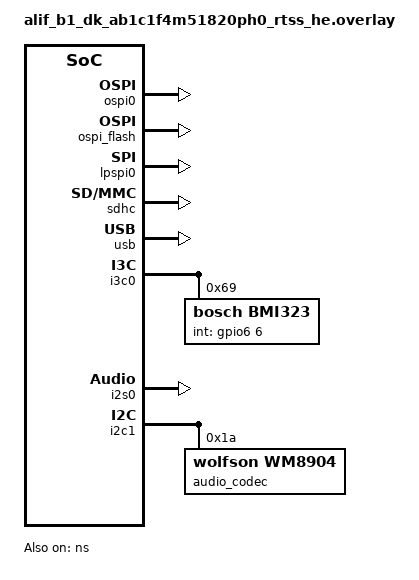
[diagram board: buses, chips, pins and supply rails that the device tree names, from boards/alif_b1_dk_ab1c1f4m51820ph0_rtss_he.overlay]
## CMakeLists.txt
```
# Copyright (C) Alif Semiconductor - All Rights Reserved.
# Use, distribution and modification of this code is permitted under the
# terms stated in the Alif Semiconductor Software License Agreement
#
# You should have received a copy of the Alif Semiconductor Software
# License Agreement with this file. If not, please write to:
# contact@alifsemi.com, or visit: https://alifsemi.com/license

cmake_minimum_required(VERSION 3.20.0)

find_package(Zephyr REQUIRED HINTS $ENV{ZEPHYR_BASE})
project(exerciser_app)

target_sources(app PRIVATE src/main.c)
target_sources_ifdef(CONFIG_SHELL app PRIVATE src/exerciser_shell.c)

# Worker sources are compiled only when the matching DT node is okay.

dt_alias(led0_path PROPERTY led0)
if(led0_path)
  dt_node_has_status(blinky_okay PATH "${led0_path}" STATUS okay)
  if(blinky_okay)
    target_sources(app PRIVATE src/blinky.c)
  endif()
endif()

dt_alias(ospi_path PROPERTY spi-flash0)
if(ospi_path)
  dt_node_has_status(ospi_okay PATH "${ospi_path}" STATUS okay)
  if(ospi_okay)
    target_sources(app PRIVATE src/ospi.c)
  endif()
endif()

dt_alias(spi_path PROPERTY master-spi)
if(spi_path)
  dt_node_has_status(spi_okay PATH "${spi_path}" STATUS okay)
  if(spi_okay)
    target_sources(app PRIVATE src/spi.c)
  endif()
endif()

# Nodelabel may be missing on this board; skip status check if unresolved.
dt_nodelabel(sdhc_path NODELABEL sdhc)
if(sdhc_path)
  dt_node_has_status(sd_okay PATH "${sdhc_path}" STATUS okay)
  if(sd_okay)
    target_sources(app PRIVATE src/sd.c)
  endif()
endif()

if(CONFIG_DT_HAS_ZEPHYR_CDC_ACM_UART_ENABLED)
  include(${ZEPHYR_BASE}/samples/subsys/usb/common/common.cmake)
  target_sources(app PRIVATE src/usb.c)
endif()

if(CONFIG_DT_HAS_BOSCH_BMI323_ENABLED)
  target_sources(app PRIVATE src/bmi323.c)
endif()

dt_nodelabel(codec_path NODELABEL audio_codec)
if(codec_path)
  dt_node_has_status(codec_okay PATH "${codec_path}" STATUS okay)
  if(codec_okay)
    target_sources(app PRIVATE src/i2s_codec.c)
  endif()
endif()

# Nodelabel may be missing on this board; skip status check if unresolved.
dt_nodelabel(video_path NODELABEL isp)
if(video_path)
  dt_node_has_status(video_okay PATH "${video_path}" STATUS okay)
  if(video_okay)
    target_sources(app PRIVATE src/video.c src/alif_logo.c)
  endif()
endif()

dt_nodelabel(eth_path NODELABEL ethernet)
if(eth_path)
  dt_node_has_status(eth_okay PATH "${eth_path}" STATUS okay)
  if(eth_okay)
    target_sources(app PRIVATE src/eth.c)
  endif()
endif()
```

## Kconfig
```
# Copyright (C) Alif Semiconductor - All Rights Reserved.
# Use, distribution and modification of this code is permitted under the
# terms stated in the Alif Semiconductor Software License Agreement
#
# You should have received a copy of the Alif Semiconductor Software
# License Agreement with this file. If not, please write to:
# contact@alifsemi.com, or visit: https://alifsemi.com/license
#

mainmenu "Exerciser App Sample"

config SAMPLE_FREQ
	int "Sample rate"
	default 48000
	help
	  Sample frequency used by the codec configuration.

source "samples/subsys/usb/common/Kconfig.sample_usbd"

source "Kconfig.zephyr"
```

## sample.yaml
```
sample:
  name: exerciser_app
  description: >
    Multi-peripheral exerciser. Board overlays (and E8 snippets) select
    which workers run: LED, OSPI, SPI loopback, SD, USB CDC-ACM, BMI323,
    WM8904, OV5675 viewfinder, Ethernet DHCPv4.

common:
  tags:
    - drivers
    - shell
  depends_on:
    - gpio
  harness: console
  harness_config:
    type: multi_line
    regex:
      - "Exerciser App"

tests:
  sample.applications.exerciser_app:
    platform_allow:
      - alif_b1_dk/ab1c1f4m51820ph0/rtss_he
      - alif_b1_sk/ab1c1f4m51820ph0/rtss_he
      - alif_e1c_dk/ae1c1f4051920hh/rtss_he
      - alif_e1c_sk/ae1c1f4051920hh/rtss_he
    integration_platforms:
      - alif_b1_dk/ab1c1f4m51820ph0/rtss_he
    tags:
      - spi
      - flash
      - usb
      - sensor
      - audio
      - sd
      - gpio

  sample.applications.exerciser_app.e8_ak:
    platform_allow:
      - alif_e8_ak/ae822fa0e5597xx0/rtss_he
    extra_args:
      - SNIPPET="ov5675-cam;alif-dhcpv4-client;ospi-flash"
    integration_platforms:
      - alif_e8_ak/ae822fa0e5597xx0/rtss_he
    tags:
      - video
      - net
      - sd
      - audio
      - ospi_flash
```

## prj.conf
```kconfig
CONFIG_SHELL=y
CONFIG_MAIN_STACK_SIZE=20480
CONFIG_STDOUT_CONSOLE=y
CONFIG_LOG=y
CONFIG_PRINTK=y
```

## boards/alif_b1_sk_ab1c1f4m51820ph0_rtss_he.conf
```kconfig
CONFIG_GPIO=y
CONFIG_SHELL=y
#ospi

#CONFIG_ARM_MPU=y
#CONFIG_CPU_HAS_CUSTOM_FIXED_SOC_MPU_REGIONS=y
#CONFIG_EVENTS=y

CONFIG_MAIN_STACK_SIZE=20480

#spi (LPSPI master internal loopback + DMA)
CONFIG_SPI=y
CONFIG_SPI_DW=y
CONFIG_SPI_LOG_LEVEL_INF=n
CONFIG_SPI_LOG_LEVEL_DBG=n
CONFIG_DMA=y
CONFIG_DMA_PL330=y
CONFIG_SPI_DW_USE_DMA=y
CONFIG_PRINTK=y
CONFIG_DMA_LOG_LEVEL_INF=n
CONFIG_PRINTK=y


#sd_org_prj
CONFIG_LOG=y

#usb-next
CONFIG_USB_DEVICE_STACK_NEXT=y
CONFIG_STDOUT_CONSOLE=y
CONFIG_SERIAL=y
CONFIG_UART_LINE_CTRL=y
CONFIG_USBD_CDC_ACM_CLASS=y
CONFIG_USBD_LOG_LEVEL_WRN=y
CONFIG_UDC_DRIVER_LOG_LEVEL_WRN=y
CONFIG_USBD_CDC_ACM_LOG_LEVEL_ERR=y
CONFIG_SAMPLE_USBD_PID=0x0001
CONFIG_SAMPLE_USBD_PRODUCT="USBD CDC ACM sample"
```

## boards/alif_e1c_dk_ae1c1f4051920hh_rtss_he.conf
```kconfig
CONFIG_GPIO=y
CONFIG_SHELL=y
#ospi

CONFIG_STDOUT_CONSOLE=y
CONFIG_FLASH=y
CONFIG_OSPI_FLASH_IS25WX=y
CONFIG_ARM_MPU=y
CONFIG_CPU_HAS_CUSTOM_FIXED_SOC_MPU_REGIONS=y
CONFIG_EVENTS=y

CONFIG_MAIN_STACK_SIZE=20480
CONFIG_FLASH_LOG_LEVEL_DBG=n
CONFIG_USE_ALIF_HAL_OSPI=y

#spi (LPSPI master internal loopback + DMA)
CONFIG_SPI=y
CONFIG_SPI_DW=y
CONFIG_SPI_LOG_LEVEL_INF=n
CONFIG_SPI_LOG_LEVEL_DBG=n
CONFIG_DMA=y
CONFIG_DMA_PL330=y
CONFIG_SPI_DW_USE_DMA=y
CONFIG_PRINTK=y
CONFIG_DMA_LOG_LEVEL_INF=n

#sd

#FATFS
CONFIG_FS_FATFS_WINDOW_ALIGNMENT=512
CONFIG_FS_FATFS_LFN=y
CONFIG_FS_LOG_LEVEL_ERR=y
CONFIG_FS_LOG_LEVEL_INF=y

#SDHC LOG
CONFIG_SDHC_LOG_LEVEL_INF=y
CONFIG_SDHC_LOG_LEVEL_ERR=y

#SDHC DMA
CONFIG_SDHC_RSP_136_HAS_CRC=y
CONFIG_SDHC_DWC=y
CONFIG_SDHC_DWC_ADMA=y

# B1/E1C dev kit specific configs
CONFIG_SDHC_INIT_PRIORITY=80
# Regulator (for SD power)
CONFIG_REGULATOR=y


#sd_org_prj
CONFIG_DISK_ACCESS=y
CONFIG_LOG=y
CONFIG_FILE_SYSTEM=y
CONFIG_FAT_FILESYSTEM_ELM=y

#usb-next
CONFIG_USB_DEVICE_STACK_NEXT=y
CONFIG_STDOUT_CONSOLE=y
CONFIG_SERIAL=y
CONFIG_UART_LINE_CTRL=y
CONFIG_USBD_CDC_ACM_CLASS=y
CONFIG_USBD_LOG_LEVEL_WRN=y
CONFIG_UDC_DRIVER_LOG_LEVEL_WRN=y
CONFIG_USBD_CDC_ACM_LOG_LEVEL_ERR=y
CONFIG_SAMPLE_USBD_PID=0x0001
CONFIG_SAMPLE_USBD_PRODUCT="USBD CDC ACM sample"

#codec_passthrough

CONFIG_AUDIO=y
CONFIG_AUDIO_CODEC=y
CONFIG_I2S=y
CONFIG_I2C=y
CONFIG_HEAP_MEM_POOL_SIZE=81920
CONFIG_SAMPLE_FREQ=48000
CONFIG_AUDIO_CODEC_WM8904=y


#bmi323
CONFIG_I3C=y
CONFIG_I3C_INIT_RSTACT=y
CONFIG_I3C_USE_IBI=n
CONFIG_SENSOR=y
CONFIG_CLOCK_CONTROL=y
CONFIG_FPU=y
```

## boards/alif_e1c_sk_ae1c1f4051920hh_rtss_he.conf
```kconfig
CONFIG_GPIO=y
CONFIG_SHELL=y
#ospi

#CONFIG_ARM_MPU=y
#CONFIG_CPU_HAS_CUSTOM_FIXED_SOC_MPU_REGIONS=y
#CONFIG_EVENTS=y

CONFIG_MAIN_STACK_SIZE=20480

#spi (LPSPI master internal loopback + DMA)
CONFIG_SPI=y
CONFIG_SPI_DW=y
CONFIG_SPI_LOG_LEVEL_INF=n
CONFIG_SPI_LOG_LEVEL_DBG=n
CONFIG_DMA=y
CONFIG_DMA_PL330=y
CONFIG_SPI_DW_USE_DMA=y
CONFIG_PRINTK=y
CONFIG_DMA_LOG_LEVEL_INF=n
CONFIG_PRINTK=y


#sd_org_prj
CONFIG_LOG=y

#usb-next
CONFIG_USB_DEVICE_STACK_NEXT=y
CONFIG_STDOUT_CONSOLE=y
CONFIG_SERIAL=y
CONFIG_UART_LINE_CTRL=y
CONFIG_USBD_CDC_ACM_CLASS=y
CONFIG_USBD_LOG_LEVEL_WRN=y
CONFIG_UDC_DRIVER_LOG_LEVEL_WRN=y
CONFIG_USBD_CDC_ACM_LOG_LEVEL_ERR=y
CONFIG_SAMPLE_USBD_PID=0x0001
CONFIG_SAMPLE_USBD_PRODUCT="USBD CDC ACM sample"
```

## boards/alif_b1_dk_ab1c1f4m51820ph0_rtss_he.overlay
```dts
/* Copyright (C) Alif Semiconductor - All Rights Reserved.
 * Use, distribution and modification of this code are permitted under the
 * terms stated in the Alif Semiconductor Software License Agreement.
 *
 * You should have received a copy of the Alif Semiconductor Software
 * License Agreement with this file. If not, please write to:
 * contact@alifsemi.com, or visit: https://alifsemi.com/license
 */

#include <dt-bindings/misc/alif_aipm_common.h>

/{
	aliases {
		spi-flash0 = &ospi_flash;
		audio-codec = &audio_codec;
		i2s-bus = &i2s0;
		i2s-codec-tx = &i2s0;
		master-spi = &lpspi0;
	};
};

&pinctrl {
	pinctrl_flash:pinctrl_flash {
		group0 {
			pinmux = <PIN_P4_2__OSPI0_SCLK_A>,
				 <PIN_P2_1__OSPI0_SS1_B>;
			read-enable = <0x0>;
			drive-strength = <12>;
			slew-rate = <0x1>;
		};
		group1 {
			pinmux = <PIN_P4_1__OSPI0_RXDS_A>,
				 <PIN_P3_0__OSPI0_D0_A>,
				 <PIN_P3_1__OSPI0_D1_A>,
				 <PIN_P3_2__OSPI0_D2_A>,
				 <PIN_P3_3__OSPI0_D3_A>,
				 <PIN_P3_4__OSPI0_D4_A>,
				 <PIN_P3_5__OSPI0_D5_A>,
				 <PIN_P3_6__OSPI0_D6_A>,
				 <PIN_P3_7__OSPI0_D7_A>;
			read-enable = <0x1>;
			drive-strength = <12>;
			slew-rate = <0x1>;
		};
	};

	pinctrl_ahi_trace: pinctrl_ahi_trace {
		group0 {
			pinmux = <PIN_P8_7__EXT_TX_B>,
				 <PIN_P8_3__EXT_RTS_B>,
				 <PIN_P8_5__EXT_TRACE_B>;
			read-enable = < 0x0 >;
		};
	};
};

&ospi0 {
	pinctrl-0 = <&pinctrl_flash>;
	status = "okay";
};

&ospi_flash {
	status = "okay";
};

#define SPI_MASTER_SS_SW_CONTROLLED_GPIO   0

&dma2 {
	status = "okay";
};

&lpspi0 {
	status = "okay";

	dmas = <&dma2 0 13>, <&dma2 1 12>;
	dma-names = "txdma", "rxdma";

#if SPI_MASTER_SS_SW_CONTROLLED_GPIO
	cs-gpios = <&gpio2 0 GPIO_ACTIVE_LOW>;
	interrupts = <46 0>;
#endif
};

#if SPI_MASTER_SS_SW_CONTROLLED_GPIO
&pinctrl_lpspi0 {
	group0 {
		pinmux = < PIN_P1_3__LPSPI_MISO_A >,
			 < PIN_P1_4__LPSPI_MOSI_A >,
			 < PIN_P1_5__LPSPI_SCLK_A >,
			 < PIN_P2_0__GPIO >;
		read-enable = < 0x1 >;
	};
};

&gpio2 {
	status = "okay";
};
#endif
ns: &ns {
	reg = <0x20060000 DT_SIZE_K(512)>;
	status = "okay";
};

/* GPIO0 is needed for SDHC sd-vsel regulator */
&gpio0 {
	status = "okay";
};

/* GPIO7 is needed for SDHC sd-pwr regulator */
&gpio7 {
	status = "okay";
};

sdhc: &sdhc {
	status = "okay";
	mmc {
		status = "okay";
		disk-name = "SD";
	};
};

&aipm_run_default {
	phy-pwr-gating = <ALIF_PHY_GATE_USB_MASK>;
};

zephyr_udc0: &usb {
	status = "okay";
};

&zephyr_udc0 {
	cdc_acm_uart0 {
		compatible = "zephyr,cdc-acm-uart";
		label = "Zephyr USB CDC-ACM";
	};
};

&i3c0 {
	status = "okay";

	bmi323: bmi323@69000003b810431000 {
		compatible = "bosch,bmi323";
		reg = <0x69 0x03b8 0x10431000>;
		/* Dynamic Address To Be Assigned To The Device */
		assigned-address = <0xA>;
		int-gpios	 = <&gpio6 6 GPIO_ACTIVE_HIGH>;
		status		 = "okay";
	};
};

&pinctrl_gpio6 {
	group0 {
		/* Enable only Port-6 Pin-6 */
		pinmux = <PIN_P6_6__GPIO>;
	};
};

&gpio6 {
	pinctrl-0		= <&pinctrl_gpio6>;
	pinctrl-names	= "default";
	status			= "okay";
};

&i2s0 {
	status = "okay";
};

&pinctrl_i2s0 {
	group0 {
		pinmux = <PIN_P2_4__I2S0_SDI_B>,
				<PIN_P2_5__I2S0_SDO_B>,
				<PIN_P1_6__I2S0_SCLK_A>,
				<PIN_P1_7__I2S0_WS_A>;
	};
};

&i2c1 {
	status = "okay";

	audio_codec: wm8904@1a {
		compatible = "wolfson,wm8904";
		reg = <0x1a>;
		clock-source = "MCLK";
		status = "okay";
	};
};
```

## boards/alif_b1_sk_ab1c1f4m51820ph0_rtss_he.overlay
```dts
/* Copyright (C) Alif Semiconductor - All Rights Reserved.
 * Use, distribution and modification of this code are permitted under the
 * terms stated in the Alif Semiconductor Software License Agreement.
 *
 * You should have received a copy of the Alif Semiconductor Software
 * License Agreement with this file. If not, please write to:
 * contact@alifsemi.com, or visit: https://alifsemi.com/license
 */

#include <dt-bindings/misc/alif_aipm_common.h>

#define SPI_MASTER_SS_SW_CONTROLLED_GPIO	0

/ {

	aliases {
		master-spi = &lpspi0;
	};
};

&dma2 {
	status = "okay";
};

&lpspi0 {
	status = "okay";

	dmas = <&dma2 0 13>, <&dma2 1 12>;
	dma-names = "txdma", "rxdma";

#if SPI_MASTER_SS_SW_CONTROLLED_GPIO
	cs-gpios = <&gpio2 0 GPIO_ACTIVE_LOW>;
	interrupts = <46 0>;
#endif
};

#if SPI_MASTER_SS_SW_CONTROLLED_GPIO
&pinctrl_lpspi0 {
	group0 {
		pinmux = < PIN_P1_3__LPSPI_MISO_A >,
			 < PIN_P1_4__LPSPI_MOSI_A >,
			 < PIN_P1_5__LPSPI_SCLK_A >,
			 < PIN_P2_0__GPIO >;
		read-enable = < 0x1 >;
	};
};

&gpio2 {
	status = "okay";
};
#endif
ns: &ns {
	reg = <0x20060000 DT_SIZE_K(512)>;
	status = "okay";
};

&aipm_run_default {
	phy-pwr-gating = <ALIF_PHY_GATE_USB_MASK>;
};
zephyr_udc0: &usb {
	status = "okay";
};

&zephyr_udc0 {
	cdc_acm_uart0 {
		compatible = "zephyr,cdc-acm-uart";
		label = "Zephyr USB CDC-ACM";
	};
};
```

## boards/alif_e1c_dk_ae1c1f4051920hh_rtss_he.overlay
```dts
/* Copyright (C) Alif Semiconductor - All Rights Reserved.
 * Use, distribution and modification of this code are permitted under the
 * terms stated in the Alif Semiconductor Software License Agreement.
 *
 * You should have received a copy of the Alif Semiconductor Software
 * License Agreement with this file. If not, please write to:
 * contact@alifsemi.com, or visit: https://alifsemi.com/license
 */

#include <dt-bindings/misc/alif_aipm_common.h>

/{
	aliases {
		spi-flash0 = &ospi_flash;
		audio-codec = &audio_codec;
		i2s-bus = &i2s0;
		i2s-codec-tx = &i2s0;
		master-spi = &lpspi0;
	};
};

&pinctrl {
	pinctrl_flash:pinctrl_flash {
		group0 {
			pinmux = <PIN_P4_2__OSPI0_SCLK_A>,
				 <PIN_P2_1__OSPI0_SS1_B>;
			read-enable = <0x0>;
			drive-strength = <12>;
			slew-rate = <0x1>;
		};
		group1 {
			pinmux = <PIN_P4_1__OSPI0_RXDS_A>,
				 <PIN_P3_0__OSPI0_D0_A>,
				 <PIN_P3_1__OSPI0_D1_A>,
				 <PIN_P3_2__OSPI0_D2_A>,
				 <PIN_P3_3__OSPI0_D3_A>,
				 <PIN_P3_4__OSPI0_D4_A>,
				 <PIN_P3_5__OSPI0_D5_A>,
				 <PIN_P3_6__OSPI0_D6_A>,
				 <PIN_P3_7__OSPI0_D7_A>;
			read-enable = <0x1>;
			drive-strength = <12>;
			slew-rate = <0x1>;
		};
	};

	pinctrl_ahi_trace: pinctrl_ahi_trace {
		group0 {
			pinmux = <PIN_P8_7__EXT_TX_B>,
				 <PIN_P8_3__EXT_RTS_B>,
				 <PIN_P8_5__EXT_TRACE_B>;
			read-enable = < 0x0 >;
		};
	};
};

&ospi0 {
	pinctrl-0 = <&pinctrl_flash>;
	status = "okay";
};

&ospi_flash {
	status = "okay";
};

#define SPI_MASTER_SS_SW_CONTROLLED_GPIO   0

&dma2 {
	status = "okay";
};

&lpspi0 {
	status = "okay";

	dmas = <&dma2 0 13>, <&dma2 1 12>;
	dma-names = "txdma", "rxdma";

#if SPI_MASTER_SS_SW_CONTROLLED_GPIO
	cs-gpios = <&gpio2 0 GPIO_ACTIVE_LOW>;
	interrupts = <46 0>;
#endif
};

#if SPI_MASTER_SS_SW_CONTROLLED_GPIO
&pinctrl_lpspi0 {
	group0 {
		pinmux = < PIN_P1_3__LPSPI_MISO_A >,
			 < PIN_P1_4__LPSPI_MOSI_A >,
			 < PIN_P1_5__LPSPI_SCLK_A >,
			 < PIN_P2_0__GPIO >;
		read-enable = < 0x1 >;
	};
};

&gpio2 {
	status = "okay";
};
#endif

ns: &ns {
	reg = <0x20060000 DT_SIZE_K(512)>;
	status = "okay";
};

/* GPIO0 is needed for SDHC sd-vsel regulator */
&gpio0 {
	status = "okay";
};

/* GPIO7 is needed for SDHC sd-pwr regulator */
&gpio7 {
	status = "okay";
};

sdhc: &sdhc {
	status = "okay";
	mmc {
		status = "okay";
		disk-name = "SD";
	};
};

&aipm_run_default {
	phy-pwr-gating = <ALIF_PHY_GATE_USB_MASK>;
};
zephyr_udc0: &usb {
	status = "okay";
};

&zephyr_udc0 {
	cdc_acm_uart0 {
		compatible = "zephyr,cdc-acm-uart";
		label = "Zephyr USB CDC-ACM";
	};
};

&i3c0 {
	status = "okay";

	bmi323: bmi323@69000003b810431000 {
		compatible = "bosch,bmi323";
		reg = <0x69 0x03b8 0x10431000>;
		/* Dynamic Address To Be Assigned To The Device */
		assigned-address = <0xA>;
		int-gpios	 = <&gpio6 6 GPIO_ACTIVE_HIGH>;
		status		 = "okay";
	};
};

&pinctrl_gpio6 {
	group0 {
		/* Enable only Port-6 Pin-6 */
		pinmux = <PIN_P6_6__GPIO>;
	};
};

&gpio6 {
	pinctrl-0		= <&pinctrl_gpio6>;
	pinctrl-names	= "default";
	status			= "okay";
};

&i2s0 {
	status = "okay";
};

&pinctrl_i2s0 {
	group0 {
		pinmux = <PIN_P2_4__I2S0_SDI_B>,
				<PIN_P2_5__I2S0_SDO_B>,
				<PIN_P1_6__I2S0_SCLK_A>,
				<PIN_P1_7__I2S0_WS_A>;
	};
};

&i2c1 {
	status = "okay";

	audio_codec: wm8904@1a {
		compatible = "wolfson,wm8904";
		reg = <0x1a>;
		clock-source = "MCLK";
		status = "okay";
	};
};
```

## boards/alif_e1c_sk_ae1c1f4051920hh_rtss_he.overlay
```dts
/* Copyright (C) Alif Semiconductor - All Rights Reserved.
 * Use, distribution and modification of this code are permitted under the
 * terms stated in the Alif Semiconductor Software License Agreement.
 *
 * You should have received a copy of the Alif Semiconductor Software
 * License Agreement with this file. If not, please write to:
 * contact@alifsemi.com, or visit: https://alifsemi.com/license
 */

#include <dt-bindings/misc/alif_aipm_common.h>

#define SPI_MASTER_SS_SW_CONTROLLED_GPIO   0

/ {

	aliases {
		master-spi = &lpspi0;
	};
};

&dma2 {
	status = "okay";
};

&lpspi0 {
	status = "okay";

	dmas = <&dma2 0 13>, <&dma2 1 12>;
	dma-names = "txdma", "rxdma";

#if SPI_MASTER_SS_SW_CONTROLLED_GPIO
	cs-gpios = <&gpio2 0 GPIO_ACTIVE_LOW>;
	interrupts = <46 0>;
#endif
};

#if SPI_MASTER_SS_SW_CONTROLLED_GPIO
&pinctrl_lpspi0 {
	group0 {
		pinmux = < PIN_P1_3__LPSPI_MISO_A >,
			 < PIN_P1_4__LPSPI_MOSI_A >,
			 < PIN_P1_5__LPSPI_SCLK_A >,
			 < PIN_P2_0__GPIO >;
		read-enable = < 0x1 >;
	};
};

&gpio2 {
	status = "okay";
};
#endif
ns: &ns {
	reg = <0x20060000 DT_SIZE_K(512)>;
	status = "okay";
};

&aipm_run_default {
	phy-pwr-gating = <ALIF_PHY_GATE_USB_MASK>;
};
zephyr_udc0: &usb {
	status = "okay";
};

&zephyr_udc0 {
	cdc_acm_uart0 {
	compatible = "zephyr,cdc-acm-uart";
	label = "Zephyr USB CDC-ACM";
	};
};
```

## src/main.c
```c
/* Copyright (C) Alif Semiconductor - All Rights Reserved.
 * Use, distribution and modification of this code are permitted under the
 * terms stated in the Alif Semiconductor Software License Agreement.
 *
 * You should have received a copy of the Alif Semiconductor Software
 * License Agreement with this file. If not, please write to:
 * contact@alifsemi.com, or visit: https://alifsemi.com/license
 */

#include <zephyr/kernel.h>
#include <zephyr/logging/log.h>
#include "exerciser_app.h"

LOG_MODULE_REGISTER(exerciser_main, LOG_LEVEL_INF);

/* Thread stack size and priority */
#define STACK_SIZE 1024

#if BLINKY_NODE_OKAY
#define BLINKY_PRIORITY 4
K_THREAD_STACK_DEFINE(blinky_stack, 512);
struct k_thread blinky_thread_data;
#endif

#if OSPI_NODE_OKAY
#define OSPI_PRIORITY 4
K_THREAD_STACK_DEFINE(ospi_stack, STACK_SIZE * 2);
struct k_thread ospi_thread_data;
#endif

#if SPI_NODE_OKAY
#define SPI_PRIORITY 4
K_THREAD_STACK_DEFINE(spi_stack, STACK_SIZE * 1);
struct k_thread spi_thread_data;
#endif

#if SD_NODE_OKAY
#define SD_PRIORITY 7
K_THREAD_STACK_DEFINE(sd_stack, STACK_SIZE * 4);
struct k_thread sd_thread_data;
#endif

#if USB_NODE_OKAY
#define USB_PRIORITY 2
K_THREAD_STACK_DEFINE(usb_stack, STACK_SIZE * 4);
struct k_thread usb_thread_data;
#endif

#if CODEC_NODE_OKAY
#define CODEC_PRIORITY 4
K_THREAD_STACK_DEFINE(codec_stack, STACK_SIZE * 8);
struct k_thread codec_thread_data;
#endif

#if BMI323_NODE_OKAY
#define BMI323_PRIORITY 4
K_THREAD_STACK_DEFINE(bmi323_stack, STACK_SIZE * 2);
struct k_thread bmi323_thread_data;
#endif

#if VIDEO_NODE_OKAY
#define VIDEO_PRIORITY 5
K_THREAD_STACK_DEFINE(video_stack, STACK_SIZE * 16);
struct k_thread video_thread_data;
#endif

#if ETH_NODE_OKAY
#define ETH_PRIORITY 4
K_THREAD_STACK_DEFINE(eth_stack, STACK_SIZE * 4);
struct k_thread eth_thread_data;
#endif

/* Function to start all exerciser threads */
void start_all_exerciser_threads(void)
{
	static atomic_t exerciser_started;

	if (!atomic_cas(&exerciser_started, 0, 1)) {
		LOG_WRN("Exerciser threads already started");
		return;
	}
#if BLINKY_NODE_OKAY
	k_tid_t tidb = k_thread_create(&blinky_thread_data, blinky_stack,
			K_THREAD_STACK_SIZEOF(blinky_stack),
			(k_thread_entry_t)blinky_thread,
			NULL, NULL, NULL, BLINKY_PRIORITY, 0, K_NO_WAIT);
	if (tidb == NULL) {
		LOG_ERR("Error creating Blinky Thread");
	} else {
		LOG_INF("Blinky thread started");
	}
#endif

#if OSPI_NODE_OKAY
	k_tid_t tido = k_thread_create(&ospi_thread_data, ospi_stack,
			K_THREAD_STACK_SIZEOF(ospi_stack),
			(k_thread_entry_t)ospi_thread,
			NULL, NULL, NULL, OSPI_PRIORITY, 0, K_NO_WAIT);
	if (tido == NULL) {
		LOG_ERR("Error creating Ospi Thread");
	} else {
		LOG_INF("OSPI thread started");
	}
#endif

#if SPI_NODE_OKAY
	k_tid_t tids = k_thread_create(&spi_thread_data, spi_stack, STACK_SIZE * 1,
			(k_thread_entry_t)spi_thread,
			NULL, NULL, NULL, SPI_PRIORITY, 0, K_NO_WAIT);
	if (tids == NULL) {
		LOG_ERR("Error creating SPI Master Thread");
	} else {
		LOG_INF("SPI thread started");
	}
#endif

#if USB_NODE_OKAY
	k_tid_t tidu = k_thread_create(&usb_thread_data, usb_stack, STACK_SIZE * 4,
			(k_thread_entry_t)usb_thread,
			NULL, NULL, NULL, USB_PRIORITY, 0, K_NO_WAIT);
	if (tidu == NULL) {
		LOG_ERR("Error creating USB thread");
	} else {
		LOG_INF("USB thread started");
	}
#endif

#if BMI323_NODE_OKAY
	k_tid_t tidbmi = k_thread_create(&bmi323_thread_data, bmi323_stack, STACK_SIZE * 2,
			(k_thread_entry_t)bmi323_thread,
			NULL, NULL, NULL, BMI323_PRIORITY, 2, K_NO_WAIT);
	if (tidbmi == NULL) {
		LOG_ERR("Error creating BMI323 thread");
	} else {
		LOG_INF("BMI323 thread started");
	}
#endif

#if CODEC_NODE_OKAY
	k_tid_t tidcodec = k_thread_create(&codec_thread_data, codec_stack, STACK_SIZE * 8,
			(k_thread_entry_t)codec_thread,
			NULL, NULL, NULL, CODEC_PRIORITY, K_FP_REGS, K_NO_WAIT);
	if (tidcodec == NULL) {
		LOG_ERR("Error creating Codec thread");
	} else {
		LOG_INF("Codec thread started");
	}
#endif

#if VIDEO_NODE_OKAY
	k_tid_t tidv = k_thread_create(&video_thread_data, video_stack,
			K_THREAD_STACK_SIZEOF(video_stack),
			(k_thread_entry_t)video_thread,
			NULL, NULL, NULL, VIDEO_PRIORITY, 0, K_NO_WAIT);
	if (tidv == NULL) {
		LOG_ERR("Error creating Video thread");
	} else {
		LOG_INF("Video thread started");
	}
#endif

#if ETH_NODE_OKAY
	k_tid_t tide = k_thread_create(&eth_thread_data, eth_stack,
			K_THREAD_STACK_SIZEOF(eth_stack),
			(k_thread_entry_t)eth_thread,
			NULL, NULL, NULL, ETH_PRIORITY, 0, K_NO_WAIT);
	if (tide == NULL) {
		LOG_ERR("Error creating DHCP thread");
	} else {
		LOG_INF("DHCP thread started");
	}
#endif

#if SD_NODE_OKAY
	k_tid_t tidsd = k_thread_create(&sd_thread_data, sd_stack,
			K_THREAD_STACK_SIZEOF(sd_stack),
			(k_thread_entry_t)sd_thread,
			NULL, NULL, NULL, SD_PRIORITY, 0, K_NO_WAIT);
	if (tidsd == NULL) {
		LOG_ERR("Error creating SD Thread");
	} else {
		LOG_INF("SD thread started");
	}
#endif

	LOG_INF("All exerciser threads started successfully!");
}

int main(void)
{
#ifdef CONFIG_SHELL
	/* Shell control mode - wait for user command */
	LOG_INF("Exerciser App - Shell Control Mode");
	LOG_INF("Use 'start_exerciser' command to start all threads");
	LOG_INF("Shell ready. Type 'help' for available commands.");
#else
	/* Auto-start mode - start all threads immediately */
	LOG_INF("Exerciser App - Auto-start Mode");
	LOG_INF("Starting all exerciser threads...");
	start_all_exerciser_threads();
#endif

	return 0;
}
```

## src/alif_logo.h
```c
/* Copyright (C) Alif Semiconductor - All Rights Reserved.
 * Use, distribution and modification of this code are permitted under the
 * terms stated in the Alif Semiconductor Software License Agreement.
 *
 * You should have received a copy of the Alif Semiconductor Software
 * License Agreement with this file. If not, please write to:
 * contact@alifsemi.com, or visit: https://alifsemi.com/license
 */

#ifndef ALIF_LOGO_H
#define ALIF_LOGO_H
#include "aipl_image.h"

const aipl_image_t *get_alif_logo(void);

const uint8_t *get_alif_lut(void);

#endif
```

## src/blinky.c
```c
/*
 * Copyright (c) 2016 Intel Corporation
 * Copyright (c) 2026 Alif Semiconductor
 *
 * SPDX-License-Identifier: Apache-2.0
 */

#include <zephyr/kernel.h>
#include <zephyr/drivers/gpio.h>
#include <zephyr/logging/log.h>
#include "exerciser_app.h"

LOG_MODULE_REGISTER(exerciser_blinky, LOG_LEVEL_INF);

#if BLINKY_NODE_OKAY
/* 1000 msec = 1 sec */
#define SLEEP_TIME_MS   1000

/* The devicetree node identifier for the "led0" alias. */
#define LED0_NODE DT_ALIAS(led0)

/*
 * A build error on this line means your board is unsupported.
 */
static const struct gpio_dt_spec led = GPIO_DT_SPEC_GET(LED0_NODE, gpios);

/* This thread will run in a loop */
void blinky_thread(void)
{
	int ret = 0;

	if (!gpio_is_ready_dt(&led)) {
		LOG_ERR("LED GPIO not ready");
		return;
	}

	ret = gpio_pin_configure_dt(&led, GPIO_OUTPUT_ACTIVE);
	if (ret < 0) {
		LOG_ERR("LED GPIO configure failed");
		return;
	}

	while (1) {
		gpio_pin_toggle_dt(&led);
		k_msleep(SLEEP_TIME_MS);
	}
}

#endif /* BLINKY_NODE_OKAY */
```

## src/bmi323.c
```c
/*
 * Copyright (c) Alif Semiconductor.
 * SPDX-License-Identifier: Apache-2.0
 */

#include <zephyr/kernel.h>
#include <zephyr/device.h>
#include <zephyr/drivers/sensor.h>
#include <stdio.h>
#include <zephyr/logging/log.h>
#include "exerciser_app.h"

LOG_MODULE_REGISTER(exerciser_bmi323, LOG_LEVEL_INF);

#if BMI323_NODE_OKAY
void bmi323_thread(void)
{
	const struct device *const dev = DEVICE_DT_GET_ONE(bosch_bmi323);
	struct sensor_value acc[3], gyr[3];
	struct sensor_value full_scale, sampling_freq, feat_mask;
	int ret;

	if (!device_is_ready(dev)) {
		LOG_ERR("Device %s is not ready", dev->name);
		return;
	}

	LOG_INF("Device %p name is %s", dev, dev->name);

	/* Setting scale in G, due to loss of precision if the SI unit m/s^2
	 * is used
	 */
	full_scale.val1 = 2;            /* G */
	full_scale.val2 = 0;
	sampling_freq.val1 = 100;       /* Hz. Performance mode */
	sampling_freq.val2 = 0;
	feat_mask.val1 = 1;          /* High performance mode */
	feat_mask.val2 = 0;

	sensor_attr_set(dev, SENSOR_CHAN_ACCEL_XYZ, SENSOR_ATTR_FULL_SCALE,
			&full_scale);
	sensor_attr_set(dev, SENSOR_CHAN_ACCEL_XYZ, SENSOR_ATTR_FEATURE_MASK,
			&feat_mask);
	/* Set sampling frequency last as this also sets the appropriate
	 * power mode. If already sampling, change to 0.0Hz before changing
	 * other attributes
	 */
	sensor_attr_set(dev, SENSOR_CHAN_ACCEL_XYZ,
			SENSOR_ATTR_SAMPLING_FREQUENCY,
			&sampling_freq);

	/* Setting scale in degrees/s to match the sensor scale */
	full_scale.val1 = 500;          /* dps */
	full_scale.val2 = 0;
	sampling_freq.val1 = 100;       /* Hz. Performance mode */
	sampling_freq.val2 = 0;
	feat_mask.val1 = 1;          /* High performance mode */
	feat_mask.val2 = 0;

	sensor_attr_set(dev, SENSOR_CHAN_GYRO_XYZ, SENSOR_ATTR_FULL_SCALE,
			&full_scale);
	sensor_attr_set(dev, SENSOR_CHAN_GYRO_XYZ, SENSOR_ATTR_FEATURE_MASK,
			&feat_mask);
	/* Set sampling frequency last as this also sets the appropriate
	 * power mode. If already sampling, change sampling frequency to
	 * 0.0Hz before changing other attributes
	 */
	sensor_attr_set(dev, SENSOR_CHAN_GYRO_XYZ,
			SENSOR_ATTR_SAMPLING_FREQUENCY,
			&sampling_freq);

	while (1) {
		/* 100ms period, 100Hz Sampling frequency */
		k_sleep(K_MSEC(500));

		ret = sensor_sample_fetch(dev);
		if (ret < 0) {
			LOG_ERR("BMI323 sample fetch failed: %d", ret);
			continue;
		}

		ret = sensor_channel_get(dev, SENSOR_CHAN_ACCEL_XYZ, acc);
		if (ret < 0) {
			LOG_ERR("BMI323 accel read failed: %d", ret);
			continue;
		}

		ret = sensor_channel_get(dev, SENSOR_CHAN_GYRO_XYZ, gyr);
		if (ret < 0) {
			LOG_ERR("BMI323 gyro read failed: %d", ret);
			continue;
		}

		LOG_INF("Accel AX: %f; AY: %f; AZ: %f g Gyro GX: %f; GY: %f; GZ: %f deg/s",
			sensor_value_to_double(&acc[0]),
			sensor_value_to_double(&acc[1]),
			sensor_value_to_double(&acc[2]),
			sensor_value_to_double(&gyr[0]),
			sensor_value_to_double(&gyr[1]),
			sensor_value_to_double(&gyr[2]));
	}
}
#endif /* BMI323_NODE_OKAY */
```

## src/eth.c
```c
/* Networking DHCPv4 client */

/*
 * Copyright (c) 2017 ARM Ltd.
 * Copyright (c) 2016 Intel Corporation.
 * Copyright (c) 2026 Alif Semiconductor
 *
 * SPDX-License-Identifier: Apache-2.0
 */

#include <zephyr/logging/log.h>
LOG_MODULE_REGISTER(net_dhcpv4_client_sample, LOG_LEVEL_DBG);

#include <zephyr/kernel.h>
#include <zephyr/linker/sections.h>
#include <errno.h>
#include <stdio.h>

#include <zephyr/net/net_if.h>
#include <zephyr/net/net_core.h>
#include <zephyr/net/net_context.h>
#include <zephyr/net/net_mgmt.h>

#include "exerciser_app.h"

#define DHCP_OPTION_NTP (42)

#if ETH_NODE_OKAY

#if defined(CONFIG_NET_DHCPV4)

static uint8_t ntp_server[4];

static struct net_mgmt_event_callback mgmt_cb;

static struct net_dhcpv4_option_callback dhcp_cb;

static void handler(struct net_mgmt_event_callback *cb,
			uint32_t mgmt_event,
			struct net_if *iface)
{
	int i = 0;

	if (mgmt_event != NET_EVENT_IPV4_ADDR_ADD) {
		return;
	}

	for (i = 0; i < NET_IF_MAX_IPV4_ADDR; i++) {
		char buf[NET_IPV4_ADDR_LEN];

		if (iface->config.ip.ipv4->unicast[i].ipv4.addr_type !=
							NET_ADDR_DHCP) {
			continue;
		}

		LOG_INF("   Address[%d]: %s", net_if_get_by_iface(iface),
			net_addr_ntop(AF_INET,
				&iface->config.ip.ipv4->unicast[i].ipv4.address.in_addr,
						buf, sizeof(buf)));
		LOG_INF("    Subnet[%d]: %s", net_if_get_by_iface(iface),
			net_addr_ntop(AF_INET,
						&iface->config.ip.ipv4->unicast[i].netmask,
						buf, sizeof(buf)));
		LOG_INF("    Router[%d]: %s", net_if_get_by_iface(iface),
			net_addr_ntop(AF_INET,
						 &iface->config.ip.ipv4->gw,
						 buf, sizeof(buf)));
		LOG_INF("Lease time[%d]: %u seconds", net_if_get_by_iface(iface),
			iface->config.dhcpv4.lease_time);
	}
}

static void option_handler(struct net_dhcpv4_option_callback *cb,
				size_t length,
				enum net_dhcpv4_msg_type msg_type,
				struct net_if *iface)
{
	char buf[NET_IPV4_ADDR_LEN];

	LOG_INF("DHCP Option %d: %s", cb->option,
		net_addr_ntop(AF_INET, cb->data, buf, sizeof(buf)));
}

void eth_thread(void)
{
	struct net_if *iface = net_if_get_default();

	LOG_INF("Run dhcpv4 client");

	net_mgmt_init_event_callback(&mgmt_cb, handler,
					NET_EVENT_IPV4_ADDR_ADD);
	net_mgmt_add_event_callback(&mgmt_cb);

	net_dhcpv4_init_option_callback(&dhcp_cb, option_handler,
					DHCP_OPTION_NTP, ntp_server,
					sizeof(ntp_server));
	net_dhcpv4_add_option_callback(&dhcp_cb);

	while (!net_if_is_up(iface) || !net_if_is_carrier_ok(iface)) {
		LOG_INF("Waiting for Ethernet link (up=%d carrier=%d)",
			net_if_is_up(iface), net_if_is_carrier_ok(iface));
		k_sleep(K_SECONDS(1));
	}

	LOG_INF("Link up, starting DHCP");
	net_dhcpv4_stop(iface);
	net_dhcpv4_start(iface);

	while (1) {
		k_sleep(K_SECONDS(10));
	}
}
#else
static void print_ipv4(struct net_if *iface)
{
	for (int i = 0; i < NET_IF_MAX_IPV4_ADDR; i++) {

		char buf[NET_IPV4_ADDR_LEN];

		if (!iface->config.ip.ipv4->unicast[i].ipv4.is_used) {
			continue;
		}
		LOG_INF("Address[%d]: %s", net_if_get_by_iface(iface),
			net_addr_ntop(AF_INET,
				&iface->config.ip.ipv4->unicast[i].ipv4.address.in_addr,
				buf, sizeof(buf)));
		LOG_INF(" Subnet[%d]: %s", net_if_get_by_iface(iface),
			net_addr_ntop(AF_INET,
				&iface->config.ip.ipv4->unicast[i].netmask,
				buf, sizeof(buf)));
		LOG_INF(" Router[%d]: %s", net_if_get_by_iface(iface),
			net_addr_ntop(AF_INET, &iface->config.ip.ipv4->gw,
				buf, sizeof(buf)));
	}
}
void eth_thread(void)
{
	struct net_if *iface = net_if_get_default();

	LOG_INF("Static IPv4");
	while (!net_if_is_up(iface) || !net_if_is_carrier_ok(iface)) {
		LOG_INF("Waiting for Ethernet link (up=%d carrier=%d)",
			net_if_is_up(iface), net_if_is_carrier_ok(iface));
		k_sleep(K_SECONDS(1));
	}
	print_ipv4(iface);
	while (1) {
		k_sleep(K_SECONDS(10));
	}
}
#endif /* CONFIG_NET_DHCPV4 */
#endif /* ETH_NODE_OKAY */
```

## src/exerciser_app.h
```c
/* Copyright (C) Alif Semiconductor - All Rights Reserved.
 * Use, distribution and modification of this code are permitted under the
 * terms stated in the Alif Semiconductor Software License Agreement.
 *
 * You should have received a copy of the Alif Semiconductor Software
 * License Agreement with this file. If not, please write to:
 * contact@alifsemi.com, or visit: https://alifsemi.com/license
 */

#ifndef EXERCISER_APP_H
#define EXERCISER_APP_H

#include <zephyr/devicetree.h>

#define BLINKY_NODE_OKAY  DT_NODE_HAS_STATUS_OKAY(DT_ALIAS(led0))
#define OSPI_NODE_OKAY    DT_NODE_HAS_STATUS_OKAY(DT_ALIAS(spi_flash0))
#define SPI_NODE_OKAY     DT_NODE_HAS_STATUS_OKAY(DT_ALIAS(master_spi))
#define SD_NODE_OKAY      DT_NODE_HAS_STATUS_OKAY(DT_NODELABEL(sdhc))
#define USB_NODE_OKAY     DT_HAS_COMPAT_STATUS_OKAY(zephyr_cdc_acm_uart)
#define BMI323_NODE_OKAY  DT_HAS_COMPAT_STATUS_OKAY(bosch_bmi323)
#define CODEC_NODE_OKAY   DT_NODE_HAS_STATUS_OKAY(DT_NODELABEL(audio_codec))
#define VIDEO_NODE_OKAY   DT_NODE_HAS_STATUS_OKAY(DT_NODELABEL(isp))
#define ETH_NODE_OKAY     DT_NODE_HAS_STATUS_OKAY(DT_NODELABEL(ethernet))

#if BLINKY_NODE_OKAY
void blinky_thread(void);
#endif
#if OSPI_NODE_OKAY
void ospi_thread(void);
#endif
#if SPI_NODE_OKAY
void spi_thread(void);
#endif
#if SD_NODE_OKAY
void sd_thread(void);
#endif
#if USB_NODE_OKAY
void usb_thread(void);
#endif
#if CODEC_NODE_OKAY
void codec_thread(void);
#endif
#if BMI323_NODE_OKAY
void bmi323_thread(void);
#endif
#if VIDEO_NODE_OKAY
void video_thread(void);
#endif
#if ETH_NODE_OKAY
void eth_thread(void);
#endif
void start_all_exerciser_threads(void);
#endif /* EXERCISER_APP_H */
```

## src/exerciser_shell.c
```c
/*
 * Copyright (c) Alif Semiconductor
 * SPDX-License-Identifier: Apache-2.0
 */

#include <zephyr/kernel.h>
#include <zephyr/shell/shell.h>
#include "exerciser_app.h"

/* Shell command to start all exerciser threads */
static int cmd_start_exerciser(const struct shell *sh, size_t argc, char **argv)
{
	ARG_UNUSED(argc);
	ARG_UNUSED(argv);

	shell_print(sh, "Starting all exerciser threads...");
	start_all_exerciser_threads();
	shell_print(sh, "Exerciser threads initialization complete!");
	return 0;
}

/* Register shell command */
SHELL_CMD_REGISTER(start_exerciser, NULL, "Start all exerciser threads", cmd_start_exerciser);
```

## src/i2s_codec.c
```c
/*
 * Copyright (c) Alif Semiconductor.
 * SPDX-License-Identifier: Apache-2.0
 */


#include <stdint.h>

#include <zephyr/kernel.h>
#include <zephyr/drivers/i2c.h>
#include <zephyr/drivers/i2s.h>
#include <zephyr/audio/codec.h>
#include <zephyr/devicetree.h>
#include <zephyr/logging/log.h>
#include "exerciser_app.h"

LOG_MODULE_REGISTER(exerciser_codec, LOG_LEVEL_INF);

#if CODEC_NODE_OKAY
#define CODEC_NODE     DT_NODELABEL(audio_codec)
#define CODEC_I2C_BUS  DT_BUS(CODEC_NODE)
#define CODEC_I2C_ADDR DT_REG_ADDR(CODEC_NODE)

/* WM8904 registers used for debug readback. */
#define WM8904_REG_POWER_MGMT_0      (0x0C)
#define WM8904_REG_POWER_MGMT_2      (0x0E)
#define WM8904_REG_POWER_MGMT_6      (0x12)
#define WM8904_REG_ANALOG_LEFT_IN_0  (0x2C)
#define WM8904_REG_ANALOG_RIGHT_IN_0 (0x2D)
#define WM8904_REG_ANALOG_LEFT_IN_1  (0x2E)
#define WM8904_REG_ANALOG_RIGHT_IN_1 (0x2F)
#define WM8904_REG_ANALOG_OUT12_ZC   (0x3D)
#define WM8904_REG_ANALOG_HP_0       (0x5A)

#define SAMPLE_FREQUENCY CONFIG_SAMPLE_FREQ
#define SAMPLE_BIT_WIDTH 16U
#define CHANNEL_COUNT    2U
#define BLOCK_SIZE       (480U * CHANNEL_COUNT * sizeof(int16_t))
#define TIMEOUT_MS       SYS_FOREVER_MS

static const uint8_t capture_input = 2U;

static int configure_codec(const struct device *codec_dev, audio_route_t route)
{
	struct audio_codec_cfg audio_cfg = {0};
	int ret;

	audio_cfg.dai_route = route;
	audio_cfg.dai_type = AUDIO_DAI_TYPE_I2S;
	audio_cfg.dai_cfg.i2s.word_size = SAMPLE_BIT_WIDTH;
	audio_cfg.dai_cfg.i2s.channels = CHANNEL_COUNT;
	audio_cfg.dai_cfg.i2s.format = I2S_FMT_DATA_FORMAT_I2S;
	audio_cfg.dai_cfg.i2s.options = I2S_OPT_FRAME_CLK_MASTER | I2S_OPT_BIT_CLK_MASTER;
	audio_cfg.dai_cfg.i2s.frame_clk_freq = SAMPLE_FREQUENCY;
	audio_cfg.dai_cfg.i2s.mem_slab = NULL;
	audio_cfg.dai_cfg.i2s.block_size = BLOCK_SIZE;
	audio_cfg.dai_cfg.i2s.timeout = TIMEOUT_MS;

	ret = audio_codec_configure(codec_dev, &audio_cfg);
	if (ret < 0) {
		LOG_ERR("Failed to configure codec route %d: %d", route, ret);
		return ret;
	}

	audio_codec_start_output(codec_dev);

	return 0;
}

static int select_capture_input(const struct device *codec_dev, uint8_t input)
{
	int ret;

	ret = audio_codec_route_input(codec_dev, AUDIO_CHANNEL_FRONT_LEFT, input);
	if (ret < 0) {
		LOG_ERR("Failed to route WM8904 left capture input IN%u: %d", input, ret);
		return ret;
	}

	ret = audio_codec_route_input(codec_dev, AUDIO_CHANNEL_FRONT_RIGHT, input);
	if (ret < 0) {
		LOG_ERR("Failed to route WM8904 right capture input IN%u: %d", input, ret);
		return ret;
	}

	LOG_INF("WM8904 capture input set to IN%u", input);
	return 0;
}

static int read_codec_reg(const struct device *i2c_dev, uint8_t reg, uint16_t *value)
{
	uint8_t raw[2];
	int ret;

	ret = i2c_write_read(i2c_dev, CODEC_I2C_ADDR, &reg, sizeof(reg), raw, sizeof(raw));
	if (ret < 0) {
		return ret;
	}

	*value = ((uint16_t)raw[0] << 8) | raw[1];
	return 0;
}

static void dump_codec_state(const struct device *i2c_dev)
{
	uint16_t reg = 0U;

	if (read_codec_reg(i2c_dev, WM8904_REG_POWER_MGMT_0, &reg) == 0) {
		LOG_INF("WM8904 R0C POWER_MGMT_0 = 0x%04x", reg);
	}
	if (read_codec_reg(i2c_dev, WM8904_REG_POWER_MGMT_2, &reg) == 0) {
		LOG_INF("WM8904 R0E POWER_MGMT_2 = 0x%04x", reg);
	}
	if (read_codec_reg(i2c_dev, WM8904_REG_POWER_MGMT_6, &reg) == 0) {
		LOG_INF("WM8904 R12 POWER_MGMT_6 = 0x%04x", reg);
	}
	if (read_codec_reg(i2c_dev, WM8904_REG_ANALOG_LEFT_IN_0, &reg) == 0) {
		LOG_INF("WM8904 R2C ANALOG_LEFT_IN_0 = 0x%04x", reg);
	}
	if (read_codec_reg(i2c_dev, WM8904_REG_ANALOG_RIGHT_IN_0, &reg) == 0) {
		LOG_INF("WM8904 R2D ANALOG_RIGHT_IN_0 = 0x%04x", reg);
	}
	if (read_codec_reg(i2c_dev, WM8904_REG_ANALOG_LEFT_IN_1, &reg) == 0) {
		LOG_INF("WM8904 R2E ANALOG_LEFT_IN_1 = 0x%04x", reg);
	}
	if (read_codec_reg(i2c_dev, WM8904_REG_ANALOG_RIGHT_IN_1, &reg) == 0) {
		LOG_INF("WM8904 R2F ANALOG_RIGHT_IN_1 = 0x%04x", reg);
	}
	if (read_codec_reg(i2c_dev, WM8904_REG_ANALOG_OUT12_ZC, &reg) == 0) {
		LOG_INF("WM8904 R3D ANALOG_OUT12_ZC = 0x%04x", reg);
	}
	if (read_codec_reg(i2c_dev, WM8904_REG_ANALOG_HP_0, &reg) == 0) {
		LOG_INF("WM8904 R5A ANALOG_HP_0 = 0x%04x", reg);
	}
}

void codec_thread(void)
{
	const struct device *const codec_i2c_dev = DEVICE_DT_GET(CODEC_I2C_BUS);
	const struct device *const codec_dev = DEVICE_DT_GET(CODEC_NODE);
	int ret;

	LOG_INF("WM8904 analog bypass demo at %u Hz", SAMPLE_FREQUENCY);

	if (!device_is_ready(codec_dev)) {
		LOG_ERR("%s is not ready", codec_dev->name);
		return;
	}

	if (!device_is_ready(codec_i2c_dev)) {
		LOG_ERR("%s is not ready", codec_i2c_dev->name);
		return;
	}

	audio_codec_stop_output(codec_dev);

	ret = configure_codec(codec_dev, AUDIO_ROUTE_BYPASS);
	if (ret < 0) {
		return;
	}

	ret = select_capture_input(codec_dev, capture_input);
	if (ret < 0) {
		audio_codec_stop_output(codec_dev);
		return;
	}

	dump_codec_state(codec_i2c_dev);
	LOG_INF("Bypass active on IN%u", capture_input);

	while (1) {
		k_msleep(1000);
	}
}
#endif /* CODEC_NODE_OKAY */
```

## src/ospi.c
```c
/*
 * Copyright (c) 2024 Alif Semiconductor
 * SPDX-License-Identifier: Apache-2.0
 */

#include <stdio.h>
#include <string.h>
#include <zephyr/device.h>
#include <zephyr/devicetree.h>
#include <zephyr/drivers/flash.h>
#include <zephyr/kernel.h>
#include <zephyr/logging/log.h>
#include "exerciser_app.h"

LOG_MODULE_REGISTER(exerciser_ospi, LOG_LEVEL_INF);

#if OSPI_NODE_OKAY
#define SPI_FLASH_SECTOR_SIZE        4096

static const struct flash_parameters *flash_param;

#define SPI_FLASH_SECTOR_4_OFFSET (4 * 1024 * 4)

void single_sector_test(const struct device *flash_dev)
{
	uint8_t expected[512];
	const size_t len = ARRAY_SIZE(expected);
	uint8_t buf[len];
	int rc;
	int i, e_count = 0;

	LOG_INF("Test 1: Flash erase");
	for (i = 0; i < 512; i++) {
		expected[i] =  i % 256;
	}

	/* Full flash erase if SPI_FLASH_TEST_REGION_OFFSET = 0 and
	 * SPI_FLASH_SECTOR_SIZE = flash size
	 */
	rc = flash_erase(flash_dev, SPI_FLASH_SECTOR_4_OFFSET, SPI_FLASH_SECTOR_SIZE);
	if (rc != 0) {
		LOG_ERR("Flash erase failed! %d", rc);
	} else {
		LOG_INF("Flash erase succeeded!");
	}

	LOG_INF("Test 1: Flash write");

	LOG_INF("Attempting to write %zu bytes", len);
	rc = flash_write(flash_dev, SPI_FLASH_SECTOR_4_OFFSET, expected, len);
	if (rc != 0) {
		LOG_ERR("Flash write failed! %d", rc);
		return;
	}
	k_msleep(1000);
	LOG_INF("Test 1: Flash read");

	memset(buf, 0, len);
	rc = flash_read(flash_dev, SPI_FLASH_SECTOR_4_OFFSET, buf, len);
	if (rc != 0) {
		LOG_ERR("Flash read failed! %d", rc);
		return;
	}

	for (i = 0; i < len; i++) {
		if (buf[i] != expected[i]) {
			e_count++;
			LOG_ERR("Not matched at [%d] _w[%4x] _r[%4x]", i, expected[i], buf[i]);
		}
	}

	if (e_count) {
		LOG_ERR("Error: Data read NOT matches data written");
	} else {
		LOG_INF("Data read matches data written. Success!!!");
	}
	k_msleep(1000);
}

void ospi_thread(void)
{
	const struct device *flash_dev = DEVICE_DT_GET(DT_ALIAS(spi_flash0));

	if (!device_is_ready(flash_dev)) {
		LOG_ERR("%s: device not ready.", flash_dev->name);
		return;
	}
	while (1) {
		LOG_INF("%s OSPI flash testing", flash_dev->name);
		LOG_INF("========================================");
		flash_param = flash_get_parameters(flash_dev);

		LOG_INF("****Flash Configured Parameters******");
		LOG_INF("* Num Of Sectors : %d", flash_param->num_of_sector);
		LOG_INF("* Sector Size : %d", flash_param->sector_size);
		LOG_INF("* Page Size : %d", flash_param->page_size);
		LOG_INF("* Erase value : %d", flash_param->erase_value);
		LOG_INF("* Write Blk Size: %d", flash_param->write_block_size);
		LOG_INF("* Total Size in MB: %d",
			(flash_param->num_of_sector * flash_param->sector_size) / (1024 * 1024));

		/* ---- RUN ALL OSPI TESTS HERE ---- */
		single_sector_test(flash_dev);
		LOG_INF("OSPI flash test thread completed.");
		k_msleep(8000);
	}
}
#endif /* OSPI_NODE_OKAY */
```

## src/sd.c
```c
/*
 * Copyright (c) 2019 Tavish Naruka <tavishnaruka@gmail.com>
 * Copyright (c) 2023 Nordic Semiconductor ASA
 * Copyright (c) 2023 Antmicro <www.antmicro.com>
 * Copyright (c) 2026 Alif Semiconductor
 *
 * SPDX-License-Identifier: Apache-2.0
 */

#include <stdio.h>
#include <zephyr/kernel.h>
#include <zephyr/storage/disk_access.h>
#include <zephyr/logging/log.h>
#include <zephyr/fs/fs.h>
#include <ff.h>
#include <errno.h>

LOG_MODULE_REGISTER(sd_write, LOG_LEVEL_INF);

#define SD_NODE_OKAY	DT_NODE_HAS_STATUS_OKAY(DT_NODELABEL(sdhc))

#if SD_NODE_OKAY
/*
 * FatFs can only mount volume strings listed in _VOLUME_STRS in ffconf.h.
 * Overlay sets mmc disk-name = "SD".
 */
#define DISK_DRIVE_NAME "SD"
#define DISK_MOUNT_PT   "/" DISK_DRIVE_NAME ":"
#define FS_RET_OK       FR_OK
#define MAX_PATH        128
#define WRITE_CHUNK     4096
#define SD_STRESS_BYTES 1024

static FATFS Z_GENERIC_SECTION(CONFIG_SD_BUFFER_SECTION) fat_fs;
static struct fs_mount_t mp = {
	.type = FS_FATFS,
	.fs_data = &fat_fs,
};

static const char *disk_mount_pt = DISK_MOUNT_PT;

/* sd.c — write rgb, do not delete it */
int sd_write_rgb(const void *data, size_t size, unsigned int index)
{
	ARG_UNUSED(index);
	char path[MAX_PATH];
	struct fs_file_t file;
	const uint8_t *p = data;
	size_t remaining = size;
	int ret;

	if (!data || size == 0) {
		return -EINVAL;
	}
	/* 8.3 name is safe even without CONFIG_FS_FATFS_LFN */
	snprintf(path, sizeof(path), "%s/FRAME.data", disk_mount_pt);
	fs_file_t_init(&file);
	ret = fs_open(&file, path, FS_O_CREATE | FS_O_WRITE | FS_O_TRUNC);
	if (ret) {
		LOG_ERR("Failed to create %s (%d)", path, ret);
		return ret;
	}

	while (remaining > 0) {
		size_t chunk = MIN(remaining, WRITE_CHUNK);
		ssize_t wr = fs_write(&file, p, chunk);

		if (wr <= 0) {
			LOG_ERR("fs_write failed (%d)", (int)wr);
			fs_close(&file);
			return (wr < 0) ? wr : -ENOSPC;
		}
		p += wr;
		remaining -= wr;
	}

	ret = fs_sync(&file);
	fs_close(&file);
	if (ret) {
		LOG_ERR("fs_sync failed (%d)", ret);
		return ret;
	}
	LOG_INF("Wrote %zu bytes to %s", size, path);
	return 0;
}

void sd_thread(void)
{
	static uint8_t scratch[SD_STRESS_BYTES];
	static const char *disk_pdrv = DISK_DRIVE_NAME;
	int res;
	int i;

	for (i = 0; i < SD_STRESS_BYTES; i++) {
		scratch[i] = (uint8_t)i;
	}

	if (disk_access_ioctl(disk_pdrv, DISK_IOCTL_CTRL_INIT, NULL) != 0) {
		LOG_ERR("Storage init ERROR!");
		return;
	}

	mp.mnt_point = disk_mount_pt;
	res = fs_mount(&mp);
	if (res != FS_RET_OK) {
		LOG_ERR("Error mounting disk: %d", res);
		return;
	}
	LOG_INF("Disk mounted successfully.");

	while (1) {
		res = sd_write_rgb(scratch, SD_STRESS_BYTES, 0);
		if (res) {
			LOG_ERR("SD write failed (%d)", res);
		}
		k_msleep(2000);
	}
}

#endif /* SD_NODE_OKAY */
```

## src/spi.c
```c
/* Copyright (C) Alif Semiconductor - All Rights Reserved.
 * Use, distribution and modification of this code are permitted under the
 * terms stated in the Alif Semiconductor Software License Agreement.
 *
 * You should have received a copy of the Alif Semiconductor Software
 * License Agreement with this file. If not, please write to:
 * contact@alifsemi.com, or visit: https://alifsemi.com/license
 */

#include <errno.h>
#include <string.h>

#include <zephyr/kernel.h>
#include <zephyr/device.h>
#include <zephyr/devicetree.h>
#include <zephyr/drivers/spi.h>
#include <soc_common.h>
#include <zephyr/logging/log.h>

#include "exerciser_app.h"

LOG_MODULE_REGISTER(exerciser_spi, LOG_LEVEL_INF);

#if SPI_NODE_OKAY
#define Mhz 1000000

/* master_spi alias is defined in the overlay (lpspi0). */
#define SPIDW_NODE DT_ALIAS(master_spi)

/* Default SPI master SS is H/W controlled; set to 1 for GPIO CS. */
#define SPI_MASTER_SS_SW_CONTROLLED_GPIO 0

#define SLEEPTIME     1000
#define BUFF_SIZE     64
#define SPI_WORD_SIZE 8
#define SPI_FREQUENCY (1 * Mhz)

static uint32_t master_txdata[BUFF_SIZE];
static uint32_t master_rxdata[BUFF_SIZE];

/* DMA handshake register helpers (E1C/B1 LPSPI + dma2) */
#define DMA_CTRL_ACK_TYPE_Pos (16U)
#define DMA_CTRL_ENA          (1U << 4)

#ifndef HE_DMA_SEL_LPSPI_Pos
#define HE_DMA_SEL_LPSPI_Pos (4)
#endif
#define HE_DMA_SEL_LPSPI_Msk (0x3U << HE_DMA_SEL_LPSPI_Pos)

#define LPSPI_DMA_RX_PERIPH_REQ 12
#define LPSPI_DMA_TX_PERIPH_REQ 13
#define LPSPI_DMA_GROUP         1

static int master_spi_transceive(const struct device *dev, struct spi_cs_control *cs)
{
	struct spi_config cnfg;
	int ret;
	int length = BUFF_SIZE * sizeof(master_txdata[0]);

	struct spi_buf tx_buf = {
		.buf = master_txdata,
		.len = length,
	};
	struct spi_buf_set tx_bufset = {
		.buffers = &tx_buf,
		.count = 1,
	};
	struct spi_buf rx_buf = {
		.buf = master_rxdata,
		.len = length,
	};
	struct spi_buf_set rx_bufset = {
		.buffers = &rx_buf,
		.count = 1,
	};

	cnfg.frequency = SPI_FREQUENCY;
	/* Internal loopback: MOSI is fed back to MISO in the controller. */
	cnfg.operation = SPI_OP_MODE_MASTER | SPI_WORD_SET(SPI_WORD_SIZE) | SPI_MODE_LOOP;
	cnfg.slave = 0;
	cnfg.cs = *cs;

	ret = spi_transceive(dev, &cnfg, &tx_bufset, &rx_bufset);
	if (ret) {
		LOG_ERR("ERROR: SPI=%p transceive: %d", dev, ret);
		return ret;
	}

	LOG_INF("Master wrote: %08x %08x %08x %08x %08x",
		master_txdata[0], master_txdata[1], master_txdata[2],
		master_txdata[3], master_txdata[4]);
	LOG_INF("Master receive: %08x %08x %08x %08x %08x",
		master_rxdata[0], master_rxdata[1], master_rxdata[2],
		master_rxdata[3], master_rxdata[4]);

	ret = memcmp(master_txdata, master_rxdata, length);
	if (ret) {
		LOG_ERR("ERROR: SPI loopback TX/RX data mismatch: %d", ret);
		return -EIO;
	}

	LOG_INF("SUCCESS: SPI loopback TX/RX data matches");
	return 0;
}

#if DT_NODE_HAS_COMPAT_STATUS(DT_NODELABEL(dma2), arm_dma_pl330, okay)
#if (IS_ENABLED(CONFIG_SOC_SERIES_E1C) || IS_ENABLED(CONFIG_SOC_SERIES_B1))
#if DT_NODE_HAS_PROP(DT_NODELABEL(lpspi0), dmas)
static void configure_lpspi0_for_dma2(void)
{
	uint32_t regdata;

	LOG_INF("configure lpspi0 for dma2");

	/* Select DMA2 group 1 for LPSPI (default) */
	sys_clear_bits(M55HE_CFG_HE_DMA_SEL, HE_DMA_SEL_LPSPI_Msk);

	sys_write32(DMA_CTRL_ENA |
				(0 << DMA_CTRL_ACK_TYPE_Pos) |
				LPSPI_DMA_GROUP,
		    EVTRTRLOCAL_DMA_CTRL0 + (LPSPI_DMA_RX_PERIPH_REQ * 4));

	regdata = sys_read32(EVTRTRLOCAL_DMA_ACK_TYPE0 + (LPSPI_DMA_GROUP * 4));
	regdata |= (1 << LPSPI_DMA_RX_PERIPH_REQ);
	sys_write32(regdata, EVTRTRLOCAL_DMA_ACK_TYPE0 + (LPSPI_DMA_GROUP * 4));

	sys_write32(DMA_CTRL_ENA |
				(0 << DMA_CTRL_ACK_TYPE_Pos) |
				LPSPI_DMA_GROUP,
			EVTRTRLOCAL_DMA_CTRL0 + (LPSPI_DMA_TX_PERIPH_REQ * 4));

	regdata = sys_read32(EVTRTRLOCAL_DMA_ACK_TYPE0 + (LPSPI_DMA_GROUP * 4));
	regdata |= (1 << LPSPI_DMA_TX_PERIPH_REQ);
	sys_write32(regdata, EVTRTRLOCAL_DMA_ACK_TYPE0 + (LPSPI_DMA_GROUP * 4));
}
#endif /* lpspi0 dmas */
#endif /* E1C/B1 */
#endif /* dma2 */

static void prepare_data(uint32_t *data, uint16_t def_mask)
{
	for (uint32_t cnt = 0; cnt < BUFF_SIZE; cnt++) {
		data[cnt] = ((uint32_t)def_mask << 16) | cnt;
	}
}

void spi_thread(void)
{
	const struct device *const dev = DEVICE_DT_GET(SPIDW_NODE);
	int ret;

#if DT_NODE_HAS_COMPAT_STATUS(DT_NODELABEL(dma2), arm_dma_pl330, okay)
#if (IS_ENABLED(CONFIG_SOC_SERIES_E1C) || IS_ENABLED(CONFIG_SOC_SERIES_B1))
#if DT_NODE_HAS_PROP(DT_NODELABEL(lpspi0), dmas)
	configure_lpspi0_for_dma2();
#endif
#endif
#endif

	if (!device_is_ready(dev)) {
		LOG_ERR("%s: Master device not ready.", dev->name);
		return;
	}

	prepare_data(master_txdata, 0xA5A5);

#if SPI_MASTER_SS_SW_CONTROLLED_GPIO
	struct spi_cs_control cs_ctrl = (struct spi_cs_control){
		.gpio = GPIO_DT_SPEC_GET(SPIDW_NODE, cs_gpios),
		.delay = 100u,
	};
#else
	struct spi_cs_control cs_ctrl = {0};
#endif

	while (1) {
		ret = master_spi_transceive(dev, &cs_ctrl);
		k_msleep(SLEEPTIME);
		if (ret != 0) {
			LOG_ERR("Stopping the SPI thread due to error");
		}
	}
}
#endif /* SPI_NODE_OKAY */
```
